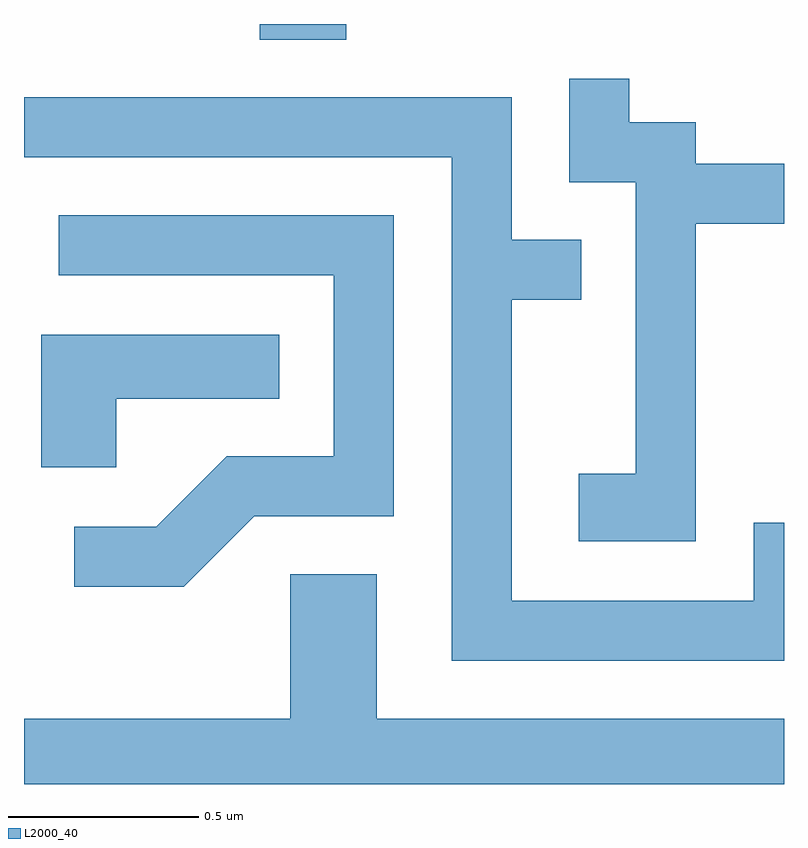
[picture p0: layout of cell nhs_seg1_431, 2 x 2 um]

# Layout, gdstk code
import gdstk
lib = gdstk.Library(unit=1e-6, precision=1e-09)
def R(c, l, rs):  # rectangles x0, y0, x1, y1
    for r in rs: c.add(gdstk.rectangle(r[:2], r[2:], *l))
def P(c, l, *ps):  # polygons
    for p in ps: c.add(gdstk.Polygon(p, *l))
L2000_40 = (2000, 40)

nhs_seg1_431 = lib.new_cell('nhs_seg1_431')
R(nhs_seg1_431, L2000_40, [(189.231,861.671,189.459,861.712)])
P(nhs_seg1_431, L2000_40, [(190.379,861.186),(190.611,861.186),(190.611,861.344),(190.379,861.344),(190.379,861.454),(190.204,861.454),(190.204,861.568),(190.046,861.568),(190.046,861.296),(190.221,861.296),(190.221,860.529),(190.071,860.529),(190.071,860.351),(190.379,860.351)],
  [(190.611,860.399),(190.531,860.399),(190.531,860.194),(189.894,860.194),(189.894,860.986),(190.078,860.986),(190.078,861.144),(189.894,861.144),(189.894,861.519),(188.611,861.519),(188.611,861.361),(189.736,861.361),(189.736,860.036),(190.611,860.036)],
  [(189.217,860.416),(189.584,860.416),(189.584,861.209),(188.703,861.209),(188.703,861.051),(189.426,861.051),(189.426,860.574),(189.144,860.574),(188.959,860.389),(188.743,860.389),(188.743,860.231),(189.032,860.231)],
  [(188.854,860.726),(189.283,860.726),(189.283,860.894),(188.656,860.894),(188.656,860.546),(188.854,860.546)],
  [(190.611,859.884),(189.539,859.884),(189.539,860.264),(189.311,860.264),(189.311,859.884),(188.611,859.884),(188.611,859.712),(190.611,859.712)])

lib.write_gds('nhs_seg1_431.gds')
